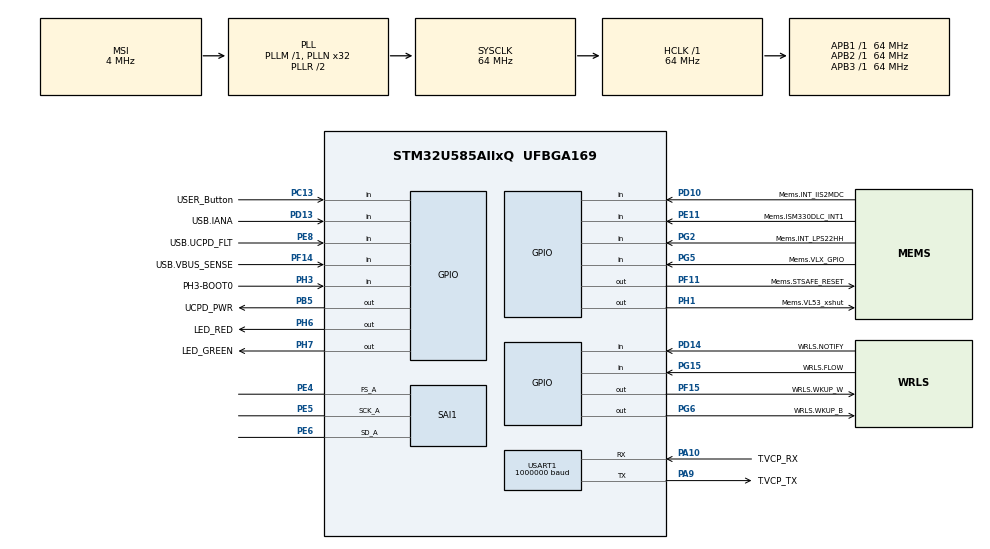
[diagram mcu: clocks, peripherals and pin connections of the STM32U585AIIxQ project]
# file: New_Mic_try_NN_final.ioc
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CORTEX_M33_NS.userName=CORTEX_M33
GPDMA1.CIRCULARMODE_GPDMACH0=ENABLE
GPDMA1.DESTDATAWIDTH_GPDMACH0=DMA_DEST_DATAWIDTH_WORD
GPDMA1.DESTINC_GPDMACH0=DMA_DINC_INCREMENTED
GPDMA1.DIRECTION_GPDMACH1=DMA_MEMORY_TO_PERIPH
GPDMA1.IPHANDLE_GPDMACH0-SIMPLEREQUEST_GPDMACH0=__NULL
GPDMA1.IPHANDLE_GPDMACH1-SIMPLEREQUEST_GPDMACH1=__NULL
GPDMA1.PRIORITY_GPDMACH1=DMA_LOW_PRIORITY_MID_WEIGHT
GPDMA1.PRIORITY_LL_CIRCULAR_GPDMACH0=DMA_HIGH_PRIORITY
GPDMA1.REQUEST_GPDMACH0=GPDMA1_REQUEST_SAI1_A
GPDMA1.REQUEST_GPDMACH1=GPDMA1_REQUEST_USART1_TX
GPDMA1.SRCDATAWIDTH_GPDMACH0=DMA_SRC_DATAWIDTH_WORD
GPDMA1.SRCINC_GPDMACH1=DMA_SINC_INCREMENTED
Mcu.Family=STM32U5
Mcu.Name=STM32U585AIIxQ
Mcu.Package=UFBGA169
NVIC.GPDMA1_Channel0_IRQn=true\:0\:0\:false\:false\:true\:false\:true\:true
NVIC.GPDMA1_Channel1_IRQn=true\:0\:0\:false\:false\:true\:false\:true\:true
NVIC.PriorityGroup=NVIC_PRIORITYGROUP_4
NVIC.TIM3_IRQn=true\:0\:0\:false\:false\:true\:true\:true\:true
PA10.GPIO_Label=T.VCP_RX
PA10.Mode=Asynchronous
PA10.Signal=USART1_RX
PA11.GPIO_Label=USB.C_P
PA11.Signal=USB_OTG_FS_DM
PA12.GPIO_Label=USB.C_P
PA12.Signal=USB_OTG_FS_DP
PA13\ (JTMS/SWDIO).GPIO_Label=T.SWDIO
PA13\ (JTMS/SWDIO).Signal=DEBUG_JTMS-SWDIO
PA14\ (JTCK/SWCLK).GPIO_Label=T.SWCLK
PA14\ (JTCK/SWCLK).Signal=DEBUG_JTCK-SWCLK
PA15\ (JTDI).GPIO_Label=USB.UCPD_CC1
PA15\ (JTDI).Signal=UCPD1_CC1
PA9.GPIO_Label=T.VCP_TX
PA9.Mode=Asynchronous
PA9.Signal=USART1_TX
PB1.GPIO_Label=MIC.SDIN0
PB1.Signal=MDF1_SDI0
PB10.GPIO_Label=OCTOSPI.R_CLK_P
PB10.Signal=OCTOSPIM_P1_CLK
PB11.GPIO_Label=OCTOSPI.R_NCS
PB11.Signal=OCTOSPIM_P1_NCS
PB12.GPIO_Label=WRLS.SPI2_NSS
PB12.Signal=SPI2_NSS
PB15.GPIO_Label=USB.UCPD_CC2
PB15.Signal=UCPD1_CC2
PB3\ (JTDO/TRACESWO).GPIO_Label=T.SWO
PB3\ (JTDO/TRACESWO).Signal=DEBUG_JTDO-SWO
PB5.GPIO_Label=UCPD_PWR
PB5.Signal=GPIO_Output
PB8.Signal=I2C1_SCL
PB9.Signal=I2C1_SDA
PC10.GPIO_Label=WRLS.UART4_TX
PC10.Signal=UART4_TX
PC11.GPIO_Label=WRLS.UART4_RX
PC11.Signal=UART4_RX
PC13.GPIO_Label=USER_Button
PC13.Signal=GPIO_Input
PC14-OSC32_IN\ (PC14).GPIO_Label=PC14-OSC32_IN
PC14-OSC32_IN\ (PC14).Signal=RCC_OSC32_IN
PC15-OSC32_OUT\ (PC15).GPIO_Label=PC15-OSC32_OUT
PC15-OSC32_OUT\ (PC15).Signal=RCC_OSC32_OUT
PC3.GPIO_Label=OCTOSPI.R_IO6
PC3.Signal=OCTOSPIM_P1_IO6
PD1.GPIO_Label=WRLS.SPI2_SCK
PD1.Signal=SPI2_SCK
PD10.GPIO_Label=Mems.INT_IIS2MDC
PD10.Signal=GPIO_Input
PD13.GPIO_Label=USB.IANA
PD13.Signal=GPIO_Input
PD14.GPIO_Label=WRLS.NOTIFY
PD14.Signal=GPIO_Input
PD3.GPIO_Label=WRLS.SPI2_MISO
PD3.Signal=SPI2_MISO
PD4.GPIO_Label=WRLS.SPI2_MOSI
PD4.Signal=SPI2_MOSI
PD7.GPIO_Label=OCTOSPI.R_IO7
PD7.Signal=OCTOSPIM_P1_IO7
PE10.GPIO_Label=MIC.SDINx
PE10.Signal=ADF1_SDI0
PE11.GPIO_Label=Mems.ISM330DLC_INT1
PE11.Signal=GPIO_Input
PE3.GPIO_Label=OCTOSPI.R_DQS
PE3.Signal=OCTOSPIM_P1_DQS
PE4.Mode=SAI_A_Master
PE4.Signal=SAI1_FS_A
PE5.Mode=SAI_A_Master
PE5.Signal=SAI1_SCK_A
PE6.Mode=SAI_A_Master
PE6.Signal=SAI1_SD_A
PE8.GPIO_Label=USB.UCPD_FLT
PE8.Signal=GPIO_Input
PE9.GPIO_Label=MIC.CCK0
PE9.Signal=ADF1_CCK0
PF0.GPIO_Label=OCTOSPI.F_IO0
PF0.Signal=OCTOSPIM_P2_IO0
PF1.GPIO_Label=OCTOSPI.F_IO1
PF1.Signal=OCTOSPIM_P2_IO1
PF10.GPIO_Label=MIC.CCK1
PF10.Signal=MDF1_CCK1
PF11.GPIO_Label=Mems.STSAFE_RESET
PF11.Signal=GPIO_Output
PF12.GPIO_Label=OCTOSPI.F_DQS
PF12.Signal=OCTOSPIM_P2_DQS
PF14.GPIO_Label=USB.VBUS_SENSE
PF14.Signal=GPIO_Input
PF15.GPIO_Label=WRLS.WKUP_W
PF15.Signal=GPIO_Output
PF2.GPIO_Label=OCTOSPI.F_IO2
PF2.Signal=OCTOSPIM_P2_IO2
PF3.GPIO_Label=OCTOSPI.F_IO3
PF3.Signal=OCTOSPIM_P2_IO3
PF4.GPIO_Label=OCTOSPI.F_CLK_P
PF4.Signal=OCTOSPIM_P2_CLK
PF6.GPIO_Label=OCTOSPI.R_IO3
PF6.Signal=OCTOSPIM_P1_IO3
PF7.GPIO_Label=OCTOSPI.R_IO2
PF7.Signal=OCTOSPIM_P1_IO2
PF8.GPIO_Label=OCTOSPI.R_IO0
PF8.Signal=OCTOSPIM_P1_IO0
PF9.GPIO_Label=OCTOSPI.R_IO1
PF9.Signal=OCTOSPIM_P1_IO1
PG15.GPIO_Label=WRLS.FLOW
PG15.Signal=GPIO_Input
PG2.GPIO_Label=Mems.INT_LPS22HH
PG2.Signal=GPIO_Input
PG5.GPIO_Label=Mems.VLX_GPIO
PG5.Signal=GPIO_Input
PG6.GPIO_Label=WRLS.WKUP_B
PG6.Signal=GPIO_Output
PH1-OSC_OUT\ (PH1).GPIO_Label=Mems.VL53_xshut
PH1-OSC_OUT\ (PH1).Signal=GPIO_Output
PH10.GPIO_Label=OCTOSPI.F_IO5
PH10.Signal=OCTOSPIM_P2_IO5
PH11.GPIO_Label=OCTOSPI.F_IO6
PH11.Signal=OCTOSPIM_P2_IO6
PH12.GPIO_Label=OCTOSPI.F_IO7
PH12.Signal=OCTOSPIM_P2_IO7
PH2.GPIO_Label=OCTOSPI.R_IO4
PH2.Signal=OCTOSPIM_P1_IO4
PH3-BOOT0.GPIO_Label=PH3-BOOT0
PH3-BOOT0.Signal=GPIO_Input
PH4.Signal=I2C2_SCL
PH5.Signal=I2C2_SDA
PH6.GPIO_Label=LED_RED
PH6.Signal=GPIO_Output
PH7.GPIO_Label=LED_GREEN
PH7.Signal=GPIO_Output
PH9.GPIO_Label=OCTOSPI.F_IO4
PH9.Signal=OCTOSPIM_P2_IO4
PI0.GPIO_Label=OCTOSPI.R_IO5
PI0.Signal=OCTOSPIM_P1_IO5
PI5.GPIO_Label=OCTOSPI.F_NCS
PI5.Signal=OCTOSPIM_P2_NCS
PWR.PowerMode=PWR_SMPS_SUPPLY
ProjectManager.HeapSize=0x20000
ProjectManager.StackSize=0x20000
ProjectManager.TargetToolchain=MDK-ARM V5.32
RCC.ADCFreq_Value=16000000
RCC.AHBFreq_Value=64000000
RCC.APB1Freq_Value=64000000
RCC.APB1TimFreq_Value=64000000
RCC.APB2Freq_Value=64000000
RCC.APB2TimFreq_Value=64000000
RCC.APB3Freq_Value=64000000
RCC.CortexFreq_Value=64000000
RCC.DACCLockSelectionVirtual=RCC_DAC1CLKSOURCE_LSI
RCC.EPOD_VALUE=4000000
RCC.HCLKFreq_Value=64000000
RCC.HSE_VALUE=16000000
RCC.HSI48_VALUE=48000000
RCC.HSI_VALUE=16000000
RCC.LSE_VALUE=32768
RCC.LSIDIV_VALUE=32000
RCC.MSI_VALUE=4000000
RCC.PLL2FRACN=0
RCC.PLL2N=32
RCC.PLL2P=1
RCC.PLLN=32
RCC.SYSCLKFreq_VALUE=64000000
RCC.SYSCLKSource=RCC_SYSCLKSOURCE_PLLCLK
RCC.USBFreq_Value=48000000
RCC.VCOOutputFreq_Value=128000000
SAI1.ActiveFrameLength-SAI_A_Master=32
SAI1.AudioFrequency-SAI_A_Master=SAI_AUDIO_FREQUENCY_22K
SAI1.AudioMode-SAI_A_Master=SAI_MODEMASTER_RX
SAI1.DataSize-SAI_A_Master=SAI_DATASIZE_24
SAI1.ErrorAudioFreq-SAI_A_Master=3.07 %
SAI1.FSDefinition-SAI_A_Master=SAI_FS_CHANNEL_IDENTIFICATION
SAI1.FSOffset-SAI_A_Master=SAI_FS_BEFOREFIRSTBIT
SAI1.FirstBitOffset-SAI_A_Master=1
SAI1.FrameLength-SAI_A_Master=64
SAI1.Instance-SAI_A_Master=SAI$Index_Block_A
SAI1.MckOutput-SAI_A_Master=SAI_MCK_OUTPUT_DISABLE
SAI1.RealAudioFreq-SAI_A_Master=22.727 KHz
SAI1.SlotActive-SAI_A_Master=0x00000001
SAI1.SlotNumber-SAI_A_Master=2
SAI1.SlotSize-SAI_A_Master=SAI_SLOTSIZE_32B
SAI1.VirtualMode-SAI_A_Master=VM_MASTER
SAI1.VirtualSlotActive-SAI_A_Master=SAI_SLOT_USERSETTING
SAI1.VirtualSlotActive0-SAI_A_Master=true
SAI1.VirtualSlotActive1-SAI_A_Master=false
STMicroelectronics.X-CUBE-AI.9.1.0.ActivationBufferSizeList=17408
STMicroelectronics.X-CUBE-AI.9.1.0.ActivationBuffers=pool0
STMicroelectronics.X-CUBE-AI.9.1.0.ActivationNames=pool0
STMicroelectronics.X-CUBE-AI.9.1.0.ActivationSizes=AI_NETWORK_DATA_ACTIVATION_1_SIZE
STMicroelectronics.X-CUBE-AI.9.1.0.ApplicationCcDeviceJjApplication=ApplicationTemplate
STMicroelectronics.X-CUBE-AI.9.1.0.HeapSize=0x20000
STMicroelectronics.X-CUBE-AI.9.1.0.InternalRamActivationBufferMaxSize=AI_NETWORK_DATA_ACTIVATIONS_SIZE
STMicroelectronics.X-CUBE-AI.9.1.0.LatestDirectoryUsed-d024037446b19f121f2a7357936863d45ce3cb0864fbbd0e69bba6d28e8f07aa=D\:\\ModelCreating\\models
STMicroelectronics.X-CUBE-AI.9.1.0.MaximumNumberOfInputLayer=1
STMicroelectronics.X-CUBE-AI.9.1.0.MaximumNumberOfOutputLayer=1
STMicroelectronics.X-CUBE-AI.9.1.0.MaximumSizeOfInputLayer=1
STMicroelectronics.X-CUBE-AI.9.1.0.MaximumSizeOfOutputLayer=1
STMicroelectronics.X-CUBE-AI.9.1.0.ModelActualCompression-d024037446b19f121f2a7357936863d45ce3cb0864fbbd0e69bba6d28e8f07aa=0.0
STMicroelectronics.X-CUBE-AI.9.1.0.ModelCompression-d024037446b19f121f2a7357936863d45ce3cb0864fbbd0e69bba6d28e8f07aa=Lossless
STMicroelectronics.X-CUBE-AI.9.1.0.ModelFlashOccupation-d024037446b19f121f2a7357936863d45ce3cb0864fbbd0e69bba6d28e8f07aa=635208
STMicroelectronics.X-CUBE-AI.9.1.0.ModelHashList=d024037446b19f121f2a7357936863d45ce3cb0864fbbd0e69bba6d28e8f07aa
STMicroelectronics.X-CUBE-AI.9.1.0.ModelKind-d024037446b19f121f2a7357936863d45ce3cb0864fbbd0e69bba6d28e8f07aa=TFLITE
STMicroelectronics.X-CUBE-AI.9.1.0.ModelMacc-d024037446b19f121f2a7357936863d45ce3cb0864fbbd0e69bba6d28e8f07aa=2590244
STMicroelectronics.X-CUBE-AI.9.1.0.ModelName-d024037446b19f121f2a7357936863d45ce3cb0864fbbd0e69bba6d28e8f07aa=network
STMicroelectronics.X-CUBE-AI.9.1.0.ModelNameList=network
STMicroelectronics.X-CUBE-AI.9.1.0.ModelRamOccupation-d024037446b19f121f2a7357936863d45ce3cb0864fbbd0e69bba6d28e8f07aa=17408
STMicroelectronics.X-CUBE-AI.9.1.0.ModelStructureFile-d024037446b19f121f2a7357936863d45ce3cb0864fbbd0e69bba6d28e8f07aa=D\:\\ModelCreating\\models\\model_44_no_augmented.tflite
STMicroelectronics.X-CUBE-AI.9.1.0.ModelType-d024037446b19f121f2a7357936863d45ce3cb0864fbbd0e69bba6d28e8f07aa=STM32Cube.AI MCU runtime
STMicroelectronics.X-CUBE-AI.9.1.0.ReadyForCodeGeneration=true
STMicroelectronics.X-CUBE-AI.9.1.0.StackSize=0x20000
STMicroelectronics.X-CUBE-AI.9.1.0.ValidationInputFile-d024037446b19f121f2a7357936863d45ce3cb0864fbbd0e69bba6d28e8f07aa=C\:\\Users\\Sundrax\\Desktop\\ModelCreating\\test.npy
STMicroelectronics.X-CUBE-AI.9.1.0.ValidationOutputFile-d024037446b19f121f2a7357936863d45ce3cb0864fbbd0e69bba6d28e8f07aa=C\:\\Users\\Sundrax\\Desktop\\ModelCreating\\test_labels.npy
STMicroelectronics.X-CUBE-AI.9.1.0.WorkingBufferStartAddrList=0xFFFFFFFF
STMicroelectronics.X-CUBE-AI.9.1.0.XAaCUBEAaAICcArtificialOoIntelligenceJjCore=true
STMicroelectronics.X-CUBE-AI.9.1.0.copyWeightToRam=false
STMicroelectronics.X-CUBE-AI.9.1.0.copyWeightToRam-d024037446b19f121f2a7357936863d45ce3cb0864fbbd0e69bba6d28e8f07aa=false
STMicroelectronics.X-CUBE-AI.9.1.0.customLayerConfigEnabled=false
STMicroelectronics.X-CUBE-AI.9.1.0.customLayerConfigEnabled-d024037446b19f121f2a7357936863d45ce3cb0864fbbd0e69bba6d28e8f07aa=false
STMicroelectronics.X-CUBE-AI.9.1.0.noOnnxIoTranspose=false
STMicroelectronics.X-CUBE-AI.9.1.0.noOnnxIoTranspose-d024037446b19f121f2a7357936863d45ce3cb0864fbbd0e69bba6d28e8f07aa=false
STMicroelectronics.X-CUBE-AI.9.1.0.useInputAllocation=true
STMicroelectronics.X-CUBE-AI.9.1.0.useInputAllocation-d024037446b19f121f2a7357936863d45ce3cb0864fbbd0e69bba6d28e8f07aa=true
STMicroelectronics.X-CUBE-AI.9.1.0.useOutputAllocation=true
STMicroelectronics.X-CUBE-AI.9.1.0.useOutputAllocation-d024037446b19f121f2a7357936863d45ce3cb0864fbbd0e69bba6d28e8f07aa=true
TIM3.PeriodNoDither=3000
TIM3.Prescaler=63999
USART1.BaudRate=1000000
USART1.VirtualMode-Asynchronous=VM_ASYNC
VP_GPDMA1_VS_GPDMACH0.Mode=SIMPLEREQUEST_GPDMACH0
VP_GPDMA1_VS_GPDMACH1.Mode=SIMPLEREQUEST_GPDMACH1
VP_ICACHE_VS_ICACHE.Mode=DirectMappedCache
VP_LPBAMQUEUE_VS_QUEUE.Mode=QUEUEMODE
VP_LPBAM_VS_SIG1.Mode=SmartRun
VP_LPBAM_VS_SIG4.Mode=LPDMA1
VP_MEMORYMAP_VS_MEMORYMAP.Mode=CurAppReg
VP_PWR_VS_LPOM.Mode=PowerOptimisation
VP_PWR_VS_SECSignals.Mode=Security/Privilege
VP_STMicroelectronics.X-CUBE-AI_VS_ArtificialOoIntelligenceJjXAaCUBEAaAI_9.1.0.Mode=ArtificialOoIntelligenceJjXAaCUBEAaAI
VP_STMicroelectronics.X-CUBE-AI_VS_DeviceJjApplication_9.1.0.Mode=DeviceJjApplication
VP_TIM3_VS_ClockSourceINT.Mode=Internal
board=B-U585I-IOT02A

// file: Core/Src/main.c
/* USER CODE BEGIN Header */
/**
  ******************************************************************************
  * @file           : main.c
  * @brief          : Main program body
  ******************************************************************************
  * @attention
  *
  * Copyright (c) 2024 STMicroelectronics.
  * All rights reserved.
  *
  * This software is licensed under terms that can be found in the LICENSE file
  * in the root directory of this software component.
  * If no LICENSE file comes with this software, it is provided AS-IS.
  *
  ******************************************************************************
  */
/* USER CODE END Header */
#include "main.h"
#include "app_x-cube-ai.h"

/* USER CODE BEGIN Includes */
#include "stdbool.h"
#include "string.h"

/* USER CODE END Includes */

/* USER CODE BEGIN PD */
#define FFTSize 512
#define FFTNum 89
#define AUDIO_BUFF_SIZE FFTNum * FFTSize
#define DMA_BUFF_SIZE	FFTSize * 2

/* USER CODE END PD */

SAI_HandleTypeDef hsai_BlockA1;
DMA_NodeTypeDef Node_GPDMA1_Channel0;
DMA_QListTypeDef List_GPDMA1_Channel0;
DMA_HandleTypeDef handle_GPDMA1_Channel0;

TIM_HandleTypeDef htim3;

UART_HandleTypeDef huart1;
DMA_HandleTypeDef handle_GPDMA1_Channel1;

/* USER CODE BEGIN PV */

// Audio buff always should be rdy to be preprocessed
// It is externed to CUBE AI process function
uint32_t pAudBuf[AUDIO_BUFF_SIZE] = {0};

// DMA buff for fast audio transfer
static uint32_t pDmaBuf[DMA_BUFF_SIZE];
bool Half,Full, AI_Time;

/* USER CODE END PV */

void SystemClock_Config(void);
static void SystemPower_Config(void);
static void MX_GPIO_Init(void);
static void MX_GPDMA1_Init(void);
static void MX_ICACHE_Init(void);
static void MX_SAI1_Init(void);
static void MX_TIM3_Init(void);
static void MX_USART1_UART_Init(void);
/* USER CODE BEGIN PFP */

void transfer_DMA_2_Memory(bool isFirstHalf);

/* USER CODE END PFP */

int main(void)
{

  /* MCU Configuration--------------------------------------------------------*/

  /* Reset of all peripherals, Initializes the Flash interface and the Systick. */
  HAL_Init();

  /* Configure the system clock */
  SystemClock_Config();

  /* Configure the System Power */
  SystemPower_Config();

  /* USER CODE BEGIN SysInit */
	HAL_NVIC_SetPriority(USART1_IRQn, 0, 0);
	HAL_NVIC_EnableIRQ(USART1_IRQn);
	__HAL_RCC_GPDMA1_CLK_ENABLE();
  /* USER CODE END SysInit */

  /* Initialize all configured peripherals */
  MX_GPIO_Init();
  MX_GPDMA1_Init();
  MX_ICACHE_Init();
  MX_SAI1_Init();
  MX_TIM3_Init();
  MX_USART1_UART_Init();
  MX_X_CUBE_AI_Init();
  /* USER CODE BEGIN 2 */

	//TIM for AI processing periodic
	HAL_TIM_Base_Start_IT(&htim3);

  //MIC to CPU transfer process
	HAL_SAI_Receive_DMA(&hsai_BlockA1, (uint8_t*)pDmaBuf, DMA_BUFF_SIZE);

  /* USER CODE END 2 */

  /* Infinite loop */
  while (1)
  {

    MX_X_CUBE_AI_Process();
  }
}

void SystemClock_Config(void)
{
  RCC_OscInitTypeDef RCC_OscInitStruct = {0};
  RCC_ClkInitTypeDef RCC_ClkInitStruct = {0};

  /** Configure the main internal regulator output voltage
  */
  if (HAL_PWREx_ControlVoltageScaling(PWR_REGULATOR_VOLTAGE_SCALE2) != HAL_OK)
  {
    Error_Handler();
  }

  /** Initializes the CPU, AHB and APB buses clocks
  */
  RCC_OscInitStruct.OscillatorType = RCC_OSCILLATORTYPE_MSI;
  RCC_OscInitStruct.MSIState = RCC_MSI_ON;
  RCC_OscInitStruct.MSICalibrationValue = RCC_MSICALIBRATION_DEFAULT;
  RCC_OscInitStruct.MSIClockRange = RCC_MSIRANGE_4;
  RCC_OscInitStruct.PLL.PLLState = RCC_PLL_ON;
  RCC_OscInitStruct.PLL.PLLSource = RCC_PLLSOURCE_MSI;
  RCC_OscInitStruct.PLL.PLLMBOOST = RCC_PLLMBOOST_DIV1;
  RCC_OscInitStruct.PLL.PLLM = 1;
  RCC_OscInitStruct.PLL.PLLN = 32;
  RCC_OscInitStruct.PLL.PLLP = 2;
  RCC_OscInitStruct.PLL.PLLQ = 2;
  RCC_OscInitStruct.PLL.PLLR = 2;
  RCC_OscInitStruct.PLL.PLLRGE = RCC_PLLVCIRANGE_0;
  RCC_OscInitStruct.PLL.PLLFRACN = 0;
  if (HAL_RCC_OscConfig(&RCC_OscInitStruct) != HAL_OK)
  {
    Error_Handler();
  }

  /** Initializes the CPU, AHB and APB buses clocks
  */
  RCC_ClkInitStruct.ClockType = RCC_CLOCKTYPE_HCLK|RCC_CLOCKTYPE_SYSCLK
                              |RCC_CLOCKTYPE_PCLK1|RCC_CLOCKTYPE_PCLK2
                              |RCC_CLOCKTYPE_PCLK3;
  RCC_ClkInitStruct.SYSCLKSource = RCC_SYSCLKSOURCE_PLLCLK;
  RCC_ClkInitStruct.AHBCLKDivider = RCC_SYSCLK_DIV1;
  RCC_ClkInitStruct.APB1CLKDivider = RCC_HCLK_DIV1;
  RCC_ClkInitStruct.APB2CLKDivider = RCC_HCLK_DIV1;
  RCC_ClkInitStruct.APB3CLKDivider = RCC_HCLK_DIV1;

  if (HAL_RCC_ClockConfig(&RCC_ClkInitStruct, FLASH_LATENCY_2) != HAL_OK)
  {
    Error_Handler();
  }
}

/**
  * @brief Power Configuration
  * @retval None
  */
static void SystemPower_Config(void)
{
  HAL_PWREx_EnableVddIO2();

  /*
   * Switch to SMPS regulator instead of LDO
   */
  if (HAL_PWREx_ConfigSupply(PWR_SMPS_SUPPLY) != HAL_OK)
  {
    Error_Handler();
  }
}

static void MX_GPDMA1_Init(void)
{

  /* Peripheral clock enable */
  __HAL_RCC_GPDMA1_CLK_ENABLE();

  /* GPDMA1 interrupt Init */
    HAL_NVIC_SetPriority(GPDMA1_Channel0_IRQn, 0, 0);
    HAL_NVIC_EnableIRQ(GPDMA1_Channel0_IRQn);
    HAL_NVIC_SetPriority(GPDMA1_Channel1_IRQn, 0, 0);
    HAL_NVIC_EnableIRQ(GPDMA1_Channel1_IRQn);

}

static void MX_ICACHE_Init(void)
{

  /** Enable instruction cache in 1-way (direct mapped cache)
  */
  if (HAL_ICACHE_ConfigAssociativityMode(ICACHE_1WAY) != HAL_OK)
  {
    Error_Handler();
  }
  if (HAL_ICACHE_Enable() != HAL_OK)
  {
    Error_Handler();
  }

}

static void MX_SAI1_Init(void)
{

  hsai_BlockA1.Instance = SAI1_Block_A;
  hsai_BlockA1.Init.Protocol = SAI_FREE_PROTOCOL;
  hsai_BlockA1.Init.AudioMode = SAI_MODEMASTER_RX;
  hsai_BlockA1.Init.DataSize = SAI_DATASIZE_24;
  hsai_BlockA1.Init.FirstBit = SAI_FIRSTBIT_MSB;
  hsai_BlockA1.Init.ClockStrobing = SAI_CLOCKSTROBING_FALLINGEDGE;
  hsai_BlockA1.Init.Synchro = SAI_ASYNCHRONOUS;
  hsai_BlockA1.Init.OutputDrive = SAI_OUTPUTDRIVE_DISABLE;
  hsai_BlockA1.Init.NoDivider = SAI_MASTERDIVIDER_ENABLE;
  hsai_BlockA1.Init.FIFOThreshold = SAI_FIFOTHRESHOLD_EMPTY;
  hsai_BlockA1.Init.AudioFrequency = SAI_AUDIO_FREQUENCY_22K;
  hsai_BlockA1.Init.SynchroExt = SAI_SYNCEXT_DISABLE;
  hsai_BlockA1.Init.MckOutput = SAI_MCK_OUTPUT_DISABLE;
  hsai_BlockA1.Init.MonoStereoMode = SAI_STEREOMODE;
  hsai_BlockA1.Init.CompandingMode = SAI_NOCOMPANDING;
  hsai_BlockA1.Init.PdmInit.Activation = DISABLE;
  hsai_BlockA1.Init.PdmInit.MicPairsNbr = 1;
  hsai_BlockA1.Init.PdmInit.ClockEnable = SAI_PDM_CLOCK1_ENABLE;
  hsai_BlockA1.FrameInit.FrameLength = 64;
  hsai_BlockA1.FrameInit.ActiveFrameLength = 32;
  hsai_BlockA1.FrameInit.FSDefinition = SAI_FS_CHANNEL_IDENTIFICATION;
  hsai_BlockA1.FrameInit.FSPolarity = SAI_FS_ACTIVE_LOW;
  hsai_BlockA1.FrameInit.FSOffset = SAI_FS_BEFOREFIRSTBIT;
  hsai_BlockA1.SlotInit.FirstBitOffset = 1;
  hsai_BlockA1.SlotInit.SlotSize = SAI_SLOTSIZE_32B;
  hsai_BlockA1.SlotInit.SlotNumber = 2;
  hsai_BlockA1.SlotInit.SlotActive = 0x00000001;
  if (HAL_SAI_Init(&hsai_BlockA1) != HAL_OK)
  {
    Error_Handler();
  }

}

static void MX_TIM3_Init(void)
{

  TIM_ClockConfigTypeDef sClockSourceConfig = {0};
  TIM_MasterConfigTypeDef sMasterConfig = {0};

  htim3.Instance = TIM3;
  htim3.Init.Prescaler = 63999;
  htim3.Init.CounterMode = TIM_COUNTERMODE_UP;
  htim3.Init.Period = 3000;
  htim3.Init.ClockDivision = TIM_CLOCKDIVISION_DIV1;
  htim3.Init.AutoReloadPreload = TIM_AUTORELOAD_PRELOAD_DISABLE;
  if (HAL_TIM_Base_Init(&htim3) != HAL_OK)
  {
    Error_Handler();
  }
  sClockSourceConfig.ClockSource = TIM_CLOCKSOURCE_INTERNAL;
  if (HAL_TIM_ConfigClockSource(&htim3, &sClockSourceConfig) != HAL_OK)
  {
    Error_Handler();
  }
  sMasterConfig.MasterOutputTrigger = TIM_TRGO_RESET;
  sMasterConfig.MasterSlaveMode = TIM_MASTERSLAVEMODE_DISABLE;
  if (HAL_TIMEx_MasterConfigSynchronization(&htim3, &sMasterConfig) != HAL_OK)
  {
    Error_Handler();
  }

}

static void MX_USART1_UART_Init(void)
{

  huart1.Instance = USART1;
  huart1.Init.BaudRate = 1000000;
  huart1.Init.WordLength = UART_WORDLENGTH_8B;
  huart1.Init.StopBits = UART_STOPBITS_1;
  huart1.Init.Parity = UART_PARITY_NONE;
  huart1.Init.Mode = UART_MODE_TX_RX;
  huart1.Init.HwFlowCtl = UART_HWCONTROL_NONE;
  huart1.Init.OverSampling = UART_OVERSAMPLING_16;
  huart1.Init.OneBitSampling = UART_ONE_BIT_SAMPLE_DISABLE;
  huart1.Init.ClockPrescaler = UART_PRESCALER_DIV1;
  huart1.AdvancedInit.AdvFeatureInit = UART_ADVFEATURE_NO_INIT;
  if (HAL_UART_Init(&huart1) != HAL_OK)
  {
    Error_Handler();
  }
  if (HAL_UARTEx_SetTxFifoThreshold(&huart1, UART_TXFIFO_THRESHOLD_1_8) != HAL_OK)
  {
    Error_Handler();
  }
  if (HAL_UARTEx_SetRxFifoThreshold(&huart1, UART_RXFIFO_THRESHOLD_1_8) != HAL_OK)
  {
    Error_Handler();
  }
  if (HAL_UARTEx_DisableFifoMode(&huart1) != HAL_OK)
  {
    Error_Handler();
  }

}

static void MX_GPIO_Init(void)
{
  GPIO_InitTypeDef GPIO_InitStruct = {0};

  /* GPIO Ports Clock Enable */
  __HAL_RCC_GPIOG_CLK_ENABLE();
  __HAL_RCC_GPIOC_CLK_ENABLE();
  __HAL_RCC_GPIOA_CLK_ENABLE();
  __HAL_RCC_GPIOI_CLK_ENABLE();
  __HAL_RCC_GPIOH_CLK_ENABLE();
  __HAL_RCC_GPIOE_CLK_ENABLE();
  __HAL_RCC_GPIOB_CLK_ENABLE();
  __HAL_RCC_GPIOD_CLK_ENABLE();
  __HAL_RCC_GPIOF_CLK_ENABLE();

  /*Configure GPIO pin Output Level */
  HAL_GPIO_WritePin(UCPD_PWR_GPIO_Port, UCPD_PWR_Pin, GPIO_PIN_RESET);

  /*Configure GPIO pin Output Level */
  HAL_GPIO_WritePin(GPIOH, LED_RED_Pin|LED_GREEN_Pin|Mems_VL53_xshut_Pin, GPIO_PIN_RESET);

  /*Configure GPIO pin Output Level */
  HAL_GPIO_WritePin(WRLS_WKUP_B_GPIO_Port, WRLS_WKUP_B_Pin, GPIO_PIN_RESET);

  /*Configure GPIO pin Output Level */
  HAL_GPIO_WritePin(GPIOF, Mems_STSAFE_RESET_Pin|WRLS_WKUP_W_Pin, GPIO_PIN_RESET);

  /*Configure GPIO pins : WRLS_FLOW_Pin Mems_VLX_GPIO_Pin Mems_INT_LPS22HH_Pin */
  GPIO_InitStruct.Pin = WRLS_FLOW_Pin|Mems_VLX_GPIO_Pin|Mems_INT_LPS22HH_Pin;
  GPIO_InitStruct.Mode = GPIO_MODE_INPUT;
  GPIO_InitStruct.Pull = GPIO_NOPULL;
  HAL_GPIO_Init(GPIOG, &GPIO_InitStruct);

  /*Configure GPIO pins : WRLS_UART4_RX_Pin WRLS_UART4_TX_Pin */
  GPIO_InitStruct.Pin = WRLS_UART4_RX_Pin|WRLS_UART4_TX_Pin;
  GPIO_InitStruct.Mode = GPIO_MODE_AF_PP;
  GPIO_InitStruct.Pull = GPIO_NOPULL;
  GPIO_InitStruct.Speed = GPIO_SPEED_FREQ_LOW;
  GPIO_InitStruct.Alternate = GPIO_AF8_UART4;
  HAL_GPIO_Init(GPIOC, &GPIO_InitStruct);

  /*Configure GPIO pin : USB_UCPD_CC1_Pin */
  GPIO_InitStruct.Pin = USB_UCPD_CC1_Pin;
  GPIO_InitStruct.Mode = GPIO_MODE_ANALOG;
  GPIO_InitStruct.Pull = GPIO_NOPULL;
  HAL_GPIO_Init(USB_UCPD_CC1_GPIO_Port, &GPIO_InitStruct);

  /*Configure GPIO pin : OCTOSPI_F_NCS_Pin */
  GPIO_InitStruct.Pin = OCTOSPI_F_NCS_Pin;
  GPIO_InitStruct.Mode = GPIO_MODE_AF_PP;
  GPIO_InitStruct.Pull = GPIO_NOPULL;
  GPIO_InitStruct.Speed = GPIO_SPEED_FREQ_VERY_HIGH;
  GPIO_InitStruct.Alternate = GPIO_AF5_OCTOSPI2;
  HAL_GPIO_Init(OCTOSPI_F_NCS_GPIO_Port, &GPIO_InitStruct);

  /*Configure GPIO pin : OCTOSPI_R_IO5_Pin */
  GPIO_InitStruct.Pin = OCTOSPI_R_IO5_Pin;
  GPIO_InitStruct.Mode = GPIO_MODE_AF_PP;
  GPIO_InitStruct.Pull = GPIO_NOPULL;
  GPIO_InitStruct.Speed = GPIO_SPEED_FREQ_VERY_HIGH;
  GPIO_InitStruct.Alternate = GPIO_AF3_OCTOSPI1;
  HAL_GPIO_Init(OCTOSPI_R_IO5_GPIO_Port, &GPIO_InitStruct);

  /*Configure GPIO pins : OCTOSPI_F_IO7_Pin OCTOSPI_F_IO5_Pin OCTOSPI_F_IO6_Pin OCTOSPI_F_IO4_Pin */
  GPIO_InitStruct.Pin = OCTOSPI_F_IO7_Pin|OCTOSPI_F_IO5_Pin|OCTOSPI_F_IO6_Pin|OCTOSPI_F_IO4_Pin;
  GPIO_InitStruct.Mode = GPIO_MODE_AF_PP;
  GPIO_InitStruct.Pull = GPIO_NOPULL;
  GPIO_InitStruct.Speed = GPIO_SPEED_FREQ_VERY_HIGH;
  GPIO_InitStruct.Alternate = GPIO_AF5_OCTOSPI2;
  HAL_GPIO_Init(GPIOH, &GPIO_InitStruct);

  /*Configure GPIO pin : PH3_BOOT0_Pin */
  GPIO_InitStruct.Pin = PH3_BOOT0_Pin;
  GPIO_InitStruct.Mode = GPIO_MODE_INPUT;
  GPIO_InitStruct.Pull = GPIO_NOPULL;
  HAL_GPIO_Init(PH3_BOOT0_GPIO_Port, &GPIO_InitStruct);

  /*Configure GPIO pin : UCPD_PWR_Pin */
  GPIO_InitStruct.Pin = UCPD_PWR_Pin;
  GPIO_InitStruct.Mode = GPIO_MODE_OUTPUT_PP;
  GPIO_InitStruct.Pull = GPIO_NOPULL;
  GPIO_InitStruct.Speed = GPIO_SPEED_FREQ_LOW;
  HAL_GPIO_Init(UCPD_PWR_GPIO_Port, &GPIO_InitStruct);

  /*Configure GPIO pins : WRLS_SPI2_MOSI_Pin WRLS_SPI2_MISO_Pin WRLS_SPI2_SCK_Pin */
  GPIO_InitStruct.Pin = WRLS_SPI2_MOSI_Pin|WRLS_SPI2_MISO_Pin|WRLS_SPI2_SCK_Pin;
  GPIO_InitStruct.Mode = GPIO_MODE_AF_PP;
  GPIO_InitStruct.Pull = GPIO_NOPULL;
  GPIO_InitStruct.Speed = GPIO_SPEED_FREQ_LOW;
  GPIO_InitStruct.Alternate = GPIO_AF5_SPI2;
  HAL_GPIO_Init(GPIOD, &GPIO_InitStruct);

  /*Configure GPIO pin : OCTOSPI_R_DQS_Pin */
  GPIO_InitStruct.Pin = OCTOSPI_R_DQS_Pin;
  GPIO_InitStruct.Mode = GPIO_MODE_AF_PP;
  GPIO_InitStruct.Pull = GPIO_NOPULL;
  GPIO_InitStruct.Speed = GPIO_SPEED_FREQ_VERY_HIGH;
  GPIO_InitStruct.Alternate = GPIO_AF3_OCTOSPI1;
  HAL_GPIO_Init(OCTOSPI_R_DQS_GPIO_Port, &GPIO_InitStruct);

  /*Configure GPIO pins : PB9 PB8 */
  GPIO_InitStruct.Pin = GPIO_PIN_9|GPIO_PIN_8;
  GPIO_InitStruct.Mode = GPIO_MODE_AF_OD;
  GPIO_InitStruct.Pull = GPIO_NOPULL;
  GPIO_InitStruct.Speed = GPIO_SPEED_FREQ_LOW;
  GPIO_InitStruct.Alternate = GPIO_AF4_I2C1;
  HAL_GPIO_Init(GPIOB, &GPIO_InitStruct);

  /*Configure GPIO pin : OCTOSPI_R_IO7_Pin */
  GPIO_InitStruct.Pin = OCTOSPI_R_IO7_Pin;
  GPIO_InitStruct.Mode = GPIO_MODE_AF_PP;
  GPIO_InitStruct.Pull = GPIO_NOPULL;
  GPIO_InitStruct.Speed = GPIO_SPEED_FREQ_VERY_HIGH;
  GPIO_InitStruct.Alternate = GPIO_AF10_OCTOSPI1;
  HAL_GPIO_Init(OCTOSPI_R_IO7_GPIO_Port, &GPIO_InitStruct);

  /*Configure GPIO pins : OCTOSPI_F_IO0_Pin OCTOSPI_F_IO1_Pin OCTOSPI_F_IO2_Pin OCTOSPI_F_IO3_Pin
                           OCTOSPI_F_CLK_P_Pin OCTOSPI_F_DQS_Pin */
  GPIO_InitStruct.Pin = OCTOSPI_F_IO0_Pin|OCTOSPI_F_IO1_Pin|OCTOSPI_F_IO2_Pin|OCTOSPI_F_IO3_Pin
                          |OCTOSPI_F_CLK_P_Pin|OCTOSPI_F_DQS_Pin;
  GPIO_InitStruct.Mode = GPIO_MODE_AF_PP;
  GPIO_InitStruct.Pull = GPIO_NOPULL;
  GPIO_InitStruct.Speed = GPIO_SPEED_FREQ_VERY_HIGH;
  GPIO_InitStruct.Alternate = GPIO_AF5_OCTOSPI2;
  HAL_GPIO_Init(GPIOF, &GPIO_InitStruct);

  /*Configure GPIO pin : USER_Button_Pin */
  GPIO_InitStruct.Pin = USER_Button_Pin;
  GPIO_InitStruct.Mode = GPIO_MODE_INPUT;
  GPIO_InitStruct.Pull = GPIO_NOPULL;
  HAL_GPIO_Init(USER_Button_GPIO_Port, &GPIO_InitStruct);

  /*Configure GPIO pins : PH4 PH5 */
  GPIO_InitStruct.Pin = GPIO_PIN_4|GPIO_PIN_5;
  GPIO_InitStruct.Mode = GPIO_MODE_AF_OD;
  GPIO_InitStruct.Pull = GPIO_NOPULL;
  GPIO_InitStruct.Speed = GPIO_SPEED_FREQ_LOW;
  GPIO_InitStruct.Alternate = GPIO_AF4_I2C2;
  HAL_GPIO_Init(GPIOH, &GPIO_InitStruct);

  /*Configure GPIO pins : LED_RED_Pin LED_GREEN_Pin Mems_VL53_xshut_Pin */
  GPIO_InitStruct.Pin = LED_RED_Pin|LED_GREEN_Pin|Mems_VL53_xshut_Pin;
  GPIO_InitStruct.Mode = GPIO_MODE_OUTPUT_PP;
  GPIO_InitStruct.Pull = GPIO_NOPULL;
  GPIO_InitStruct.Speed = GPIO_SPEED_FREQ_LOW;
  HAL_GPIO_Init(GPIOH, &GPIO_InitStruct);

  /*Configure GPIO pins : OCTOSPI_R_IO0_Pin OCTOSPI_R_IO2_Pin OCTOSPI_R_IO1_Pin OCTOSPI_R_IO3_Pin */
  GPIO_InitStruct.Pin = OCTOSPI_R_IO0_Pin|OCTOSPI_R_IO2_Pin|OCTOSPI_R_IO1_Pin|OCTOSPI_R_IO3_Pin;
  GPIO_InitStruct.Mode = GPIO_MODE_AF_PP;
  GPIO_InitStruct.Pull = GPIO_NOPULL;
  GPIO_InitStruct.Speed = GPIO_SPEED_FREQ_VERY_HIGH;
  GPIO_InitStruct.Alternate = GPIO_AF10_OCTOSPI1;
  HAL_GPIO_Init(GPIOF, &GPIO_InitStruct);

  /*Configure GPIO pin : OCTOSPI_R_IO4_Pin */
  GPIO_InitStruct.Pin = OCTOSPI_R_IO4_Pin;
  GPIO_InitStruct.Mode = GPIO_MODE_AF_PP;
  GPIO_InitStruct.Pull = GPIO_NOPULL;
  GPIO_InitStruct.Speed = GPIO_SPEED_FREQ_VERY_HIGH;
  GPIO_InitStruct.Alternate = GPIO_AF3_OCTOSPI1;
  HAL_GPIO_Init(OCTOSPI_R_IO4_GPIO_Port, &GPIO_InitStruct);

  /*Configure GPIO pins : USB_C_P_Pin USB_C_PA11_Pin */
  GPIO_InitStruct.Pin = USB_C_P_Pin|USB_C_PA11_Pin;
  GPIO_InitStruct.Mode = GPIO_MODE_AF_PP;
  GPIO_InitStruct.Pull = GPIO_NOPULL;
  GPIO_InitStruct.Speed = GPIO_SPEED_FREQ_LOW;
  GPIO_InitStruct.Alternate = GPIO_AF10_USB;
  HAL_GPIO_Init(GPIOA, &GPIO_InitStruct);

  /*Configure GPIO pin : MIC_CCK1_Pin */
  GPIO_InitStruct.Pin = MIC_CCK1_Pin;
  GPIO_InitStruct.Mode = GPIO_MODE_AF_PP;
  GPIO_InitStruct.Pull = GPIO_NOPULL;
  GPIO_InitStruct.Speed = GPIO_SPEED_FREQ_LOW;
  GPIO_InitStruct.Alternate = GPIO_AF6_MDF1;
  HAL_GPIO_Init(MIC_CCK1_GPIO_Port, &GPIO_InitStruct);

  /*Configure GPIO pins : MIC_SDINx_Pin MIC_CCK0_Pin */
  GPIO_InitStruct.Pin = MIC_SDINx_Pin|MIC_CCK0_Pin;
  GPIO_InitStruct.Mode = GPIO_MODE_AF_PP;
  GPIO_InitStruct.Pull = GPIO_NOPULL;
  GPIO_InitStruct.Speed = GPIO_SPEED_FREQ_LOW;
  GPIO_InitStruct.Alternate = GPIO_AF3_ADF1;
  HAL_GPIO_Init(GPIOE, &GPIO_InitStruct);

  /*Configure GPIO pin : WRLS_WKUP_B_Pin */
  GPIO_InitStruct.Pin = WRLS_WKUP_B_Pin;
  GPIO_InitStruct.Mode = GPIO_MODE_OUTPUT_PP;
  GPIO_InitStruct.Pull = GPIO_NOPULL;
  GPIO_InitStruct.Speed = GPIO_SPEED_FREQ_LOW;
  HAL_GPIO_Init(WRLS_WKUP_B_GPIO_Port, &GPIO_InitStruct);

  /*Configure GPIO pins : WRLS_NOTIFY_Pin Mems_INT_IIS2MDC_Pin USB_IANA_Pin */
  GPIO_InitStruct.Pin = WRLS_NOTIFY_Pin|Mems_INT_IIS2MDC_Pin|USB_IANA_Pin;
  GPIO_InitStruct.Mode = GPIO_MODE_INPUT;
  GPIO_InitStruct.Pull = GPIO_NOPULL;
  HAL_GPIO_Init(GPIOD, &GPIO_InitStruct);

  /*Configure GPIO pin : OCTOSPI_R_IO6_Pin */
  GPIO_InitStruct.Pin = OCTOSPI_R_IO6_Pin;
  GPIO_InitStruct.Mode = GPIO_MODE_AF_PP;
  GPIO_InitStruct.Pull = GPIO_NOPULL;
  GPIO_InitStruct.Speed = GPIO_SPEED_FREQ_VERY_HIGH;
  GPIO_InitStruct.Alternate = GPIO_AF10_OCTOSPI1;
  HAL_GPIO_Init(OCTOSPI_R_IO6_GPIO_Port, &GPIO_InitStruct);

  /*Configure GPIO pins : USB_UCPD_FLT_Pin Mems_ISM330DLC_INT1_Pin */
  GPIO_InitStruct.Pin = USB_UCPD_FLT_Pin|Mems_ISM330DLC_INT1_Pin;
  GPIO_InitStruct.Mode = GPIO_MODE_INPUT;
  GPIO_InitStruct.Pull = GPIO_NOPULL;
  HAL_GPIO_Init(GPIOE, &GPIO_InitStruct);

  /*Configure GPIO pins : OCTOSPI_R_CLK_P_Pin OCTOSPI_R_NCS_Pin */
  GPIO_InitStruct.Pin = OCTOSPI_R_CLK_P_Pin|OCTOSPI_R_NCS_Pin;
  GPIO_InitStruct.Mode = GPIO_MODE_AF_PP;
  GPIO_InitStruct.Pull = GPIO_NOPULL;
  GPIO_InitStruct.Speed = GPIO_SPEED_FREQ_VERY_HIGH;
  GPIO_InitStruct.Alternate = GPIO_AF10_OCTOSPI1;
  HAL_GPIO_Init(GPIOB, &GPIO_InitStruct);

  /*Configure GPIO pin : USB_VBUS_SENSE_Pin */
  GPIO_InitStruct.Pin = USB_VBUS_SENSE_Pin;
  GPIO_InitStruct.Mode = GPIO_MODE_INPUT;
  GPIO_InitStruct.Pull = GPIO_NOPULL;
  HAL_GPIO_Init(USB_VBUS_SENSE_GPIO_Port, &GPIO_InitStruct);

  /*Configure GPIO pin : WRLS_SPI2_NSS_Pin */
  GPIO_InitStruct.Pin = WRLS_SPI2_NSS_Pin;
  GPIO_InitStruct.Mode = GPIO_MODE_AF_PP;
  GPIO_InitStruct.Pull = GPIO_NOPULL;
  GPIO_InitStruct.Speed = GPIO_SPEED_FREQ_LOW;
  GPIO_InitStruct.Alternate = GPIO_AF5_SPI2;
  HAL_GPIO_Init(WRLS_SPI2_NSS_GPIO_Port, &GPIO_InitStruct);

  /*Configure GPIO pin : USB_UCPD_CC2_Pin */
  GPIO_InitStruct.Pin = USB_UCPD_CC2_Pin;
  GPIO_InitStruct.Mode = GPIO_MODE_ANALOG;
  GPIO_InitStruct.Pull = GPIO_NOPULL;
  HAL_GPIO_Init(USB_UCPD_CC2_GPIO_Port, &GPIO_InitStruct);

  /*Configure GPIO pins : Mems_STSAFE_RESET_Pin WRLS_WKUP_W_Pin */
  GPIO_InitStruct.Pin = Mems_STSAFE_RESET_Pin|WRLS_WKUP_W_Pin;
  GPIO_InitStruct.Mode = GPIO_MODE_OUTPUT_PP;
  GPIO_InitStruct.Pull = GPIO_NOPULL;
  GPIO_InitStruct.Speed = GPIO_SPEED_FREQ_LOW;
  HAL_GPIO_Init(GPIOF, &GPIO_InitStruct);

  /*Configure GPIO pin : MIC_SDIN0_Pin */
  GPIO_InitStruct.Pin = MIC_SDIN0_Pin;
  GPIO_InitStruct.Mode = GPIO_MODE_AF_PP;
  GPIO_InitStruct.Pull = GPIO_NOPULL;
  GPIO_InitStruct.Speed = GPIO_SPEED_FREQ_LOW;
  GPIO_InitStruct.Alternate = GPIO_AF6_MDF1;
  HAL_GPIO_Init(MIC_SDIN0_GPIO_Port, &GPIO_InitStruct);

}

/* USER CODE BEGIN 4 */
void HAL_SAI_RxHalfCpltCallback(SAI_HandleTypeDef * hsai) {
	transfer_DMA_2_Memory(true);
	//Half = true;
}
void HAL_SAI_RxCpltCallback(SAI_HandleTypeDef * hsai) {
	transfer_DMA_2_Memory(false);
	//Full = true;

}

void transfer_DMA_2_Memory(bool isFirstHalf){
  /* Function to ongoing transfer DMA -> pAudBuff*/
	memcpy(pAudBuf,pAudBuf + DMA_BUFF_SIZE/2, (AUDIO_BUFF_SIZE - DMA_BUFF_SIZE/2) * sizeof(uint32_t));	// move everything backward
	if (isFirstHalf)
		memcpy(pAudBuf + AUDIO_BUFF_SIZE - DMA_BUFF_SIZE/2, pDmaBuf, DMA_BUFF_SIZE/2 * sizeof(uint32_t)); // cpy first half of DMA buf in tail of Audio buff
	else
		memcpy(pAudBuf + AUDIO_BUFF_SIZE - DMA_BUFF_SIZE/2, pDmaBuf + DMA_BUFF_SIZE/2, DMA_BUFF_SIZE/2 * sizeof(uint32_t));
}

void HAL_TIM_PeriodElapsedCallback(TIM_HandleTypeDef *htim)
{
			AI_Time = true;
}

/* USER CODE END 4 */

void Error_Handler(void)
{
  __disable_irq();
  while (1)
  {
  }
}
